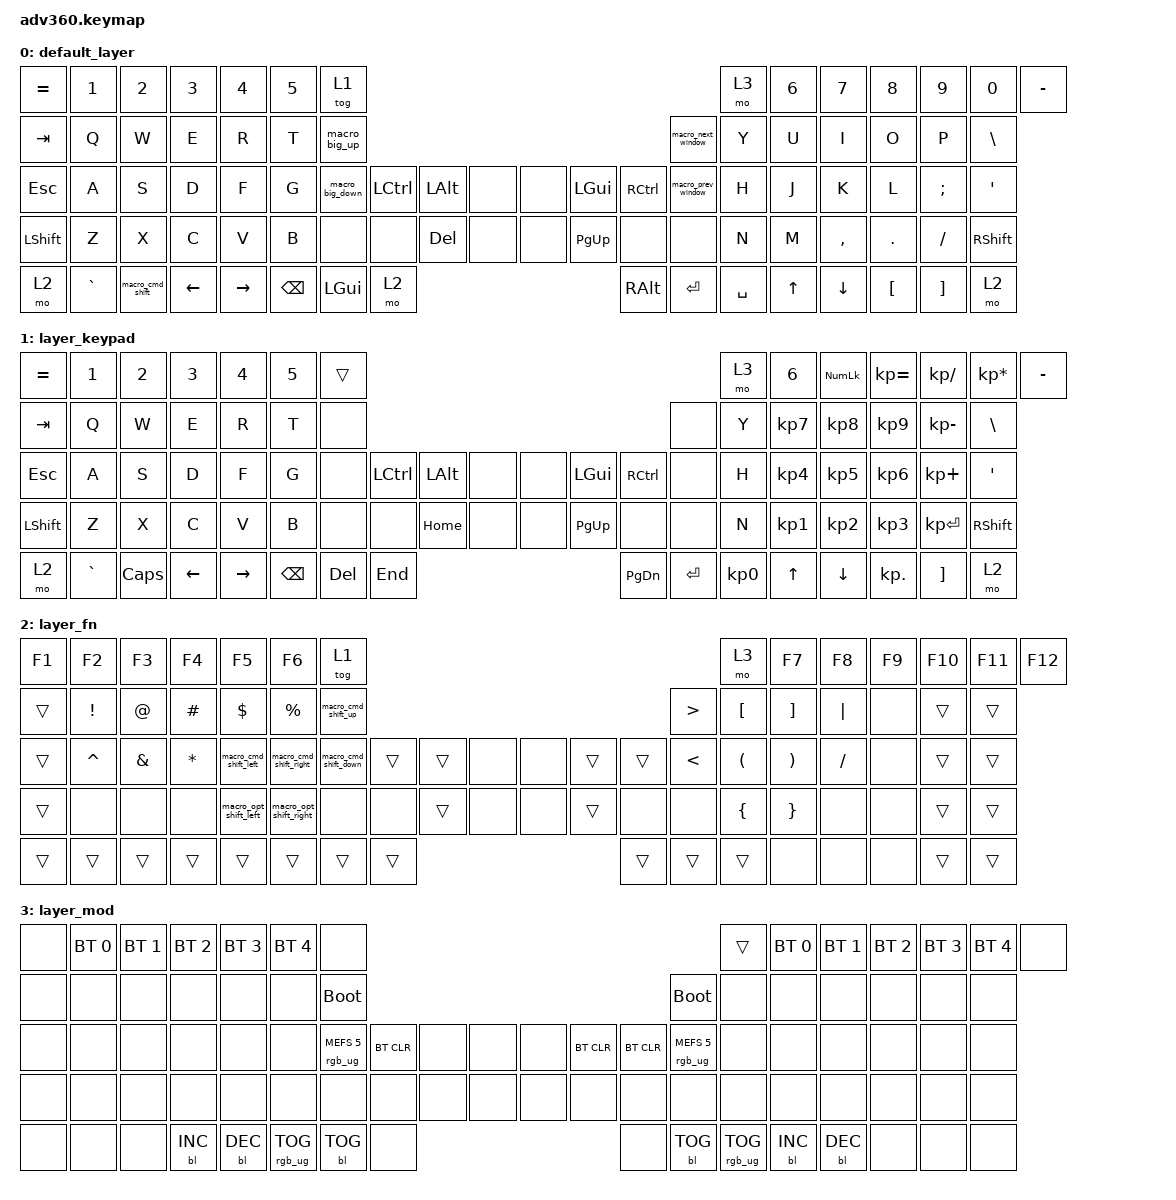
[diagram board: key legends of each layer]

/*
 * Copyright (c) 2020 The ZMK Contributors
 *
 * SPDX-License-Identifier: MIT
 */


/* THIS FILE WAS GENERATED!
 *
 * This file was generated automatically. You may or may not want to
 * edit it directly.
 */

#include <behaviors.dtsi>
#include <dt-bindings/zmk/keys.h>
#include <dt-bindings/zmk/bt.h>
#include <dt-bindings/zmk/rgb.h>
#include <dt-bindings/zmk/backlight.h>

/ {
  behaviors {
    #include "macros.dtsi"

    hm: homerow_mods {
        compatible = "zmk,behavior-hold-tap";
        label = "HOMEROW_MODS";
        #binding-cells = <2>;
        tapping-term-ms = <200>;
        quick_tap_ms = <175>;
        flavor = "tap-preferred";
        bindings = <&kp>, <&kp>;
    };
  };

    keymap {
        compatible = "zmk,keymap";


        default_layer {
            bindings = <
 &kp EQUAL     &kp N1            &kp N2    &kp N3     &kp N4  &kp N5                          &tog 1                                                                                &mo 3  &kp N6  &kp N7     &kp N8    &kp N9    &kp N0  &kp MINUS
   &kp TAB      &kp Q             &kp W     &kp E      &kp R   &kp T                  &macro_big_up                                                                   &macro_next_window   &kp Y   &kp U      &kp I     &kp O     &kp P   &kp BSLH
   &kp ESC      &kp A             &kp S     &kp D      &kp F   &kp G            &macro_big_down  &kp LCTRL    &kp LALT   &none   &none       &kp LGUI  &kp RCTRL  &macro_prev_window   &kp H   &kp J      &kp K     &kp L  &kp SEMI    &kp SQT
 &kp LSHFT      &kp Z             &kp X     &kp C      &kp V   &kp B                           &none      &none  &kp DELETE   &none   &none      &kp PG_UP      &none               &none   &kp N   &kp M  &kp COMMA   &kp DOT  &kp FSLH  &kp RSHFT
     &mo 2  &kp GRAVE  &macro_cmd_shift  &kp LEFT  &kp RIGHT                                &kp BSPC   &kp LGUI       &mo 2                  &kp RIGHT_ALT  &kp ENTER           &kp SPACE          &kp UP   &kp DOWN  &kp LBKT  &kp RBKT      &mo 2
            >;
        };

        layer_keypad {
            bindings = <
 &kp EQUAL     &kp N1    &kp N2    &kp N3     &kp N4  &kp N5              &trans                                                                 &mo 3  &kp N6  &kp KP_NUM  &kp KP_EQUAL  &kp KP_DIVIDE  &kp KP_MULTIPLY  &kp MINUS
   &kp TAB      &kp Q     &kp W     &kp E      &kp R   &kp T               &none                                                                 &none   &kp Y   &kp KP_N7     &kp KP_N8      &kp KP_N9     &kp KP_MINUS   &kp BSLH
   &kp ESC      &kp A     &kp S     &kp D      &kp F   &kp G               &none  &kp LCTRL  &kp LALT   &none   &none   &kp LGUI  &kp RCTRL      &none   &kp H   &kp KP_N4     &kp KP_N5      &kp KP_N6      &kp KP_PLUS    &kp SQT
 &kp LSHFT      &kp Z     &kp X     &kp C      &kp V   &kp B               &none      &none  &kp HOME   &none   &none  &kp PG_UP      &none      &none   &kp N   &kp KP_N1     &kp KP_N2      &kp KP_N3     &kp KP_ENTER  &kp RSHFT
     &mo 2  &kp GRAVE  &kp CAPS  &kp LEFT  &kp RIGHT                    &kp BSPC    &kp DEL   &kp END                  &kp PG_DN  &kp ENTER  &kp KP_N0              &kp UP      &kp DOWN     &kp KP_DOT         &kp RBKT      &mo 2
            >;
        };

        layer_fn {
            bindings = <
 &kp F1           &kp F2         &kp F3    &kp F4                 &kp F5                  &kp F6                           &tog 1                                                             &mo 3                &kp F7                 &kp F8     &kp F9  &kp F10  &kp F11  &kp F12
 &trans  &kp EXCLAMATION    &kp AT_SIGN  &kp HASH             &kp DOLLAR             &kp PERCENT              &macro_cmd_shift_up                                                  &kp GREATER_THAN      &kp LEFT_BRACKET      &kp RIGHT_BRACKET   &kp PIPE    &none   &trans   &trans
 &trans        &kp CARET  &kp AMPERSAND  &kp STAR  &macro_cmd_shift_left  &macro_cmd_shift_right            &macro_cmd_shift_down  &trans  &trans   &none   &none  &trans  &trans     &kp LESS_THAN  &kp LEFT_PARENTHESIS  &kp RIGHT_PARENTHESIS  &kp SLASH    &none   &trans   &trans
 &trans            &none          &none     &none  &macro_opt_shift_left  &macro_opt_shift_right                            &none   &none  &trans   &none   &none  &trans   &none             &none        &kp LEFT_BRACE        &kp RIGHT_BRACE      &none    &none   &trans   &trans
 &trans           &trans         &trans    &trans                 &trans                                                   &trans  &trans  &trans                  &trans  &trans            &trans                                        &none      &none    &none   &trans   &trans
            >;
        };

        layer_mod {
            bindings = <
  &none  &bt BT_SEL 0  &bt BT_SEL 1  &bt BT_SEL 2  &bt BT_SEL 3  &bt BT_SEL 4                             &none                                                                              &trans  &bt BT_SEL 0  &bt BT_SEL 1  &bt BT_SEL 2  &bt BT_SEL 3  &bt BT_SEL 4   &none
  &none         &none         &none         &none         &none         &none                       &bootloader                                                                         &bootloader         &none         &none         &none         &none         &none   &none
  &none         &none         &none         &none         &none         &none            &rgb_ug RGB_MEFS_CMD 5  &bt BT_CLR   &none   &none   &none  &bt BT_CLR  &bt BT_CLR  &rgb_ug RGB_MEFS_CMD 5         &none         &none         &none         &none         &none   &none
  &none         &none         &none         &none         &none         &none                             &none       &none   &none   &none   &none       &none       &none                   &none         &none         &none         &none         &none         &none   &none
  &none         &none         &none    &bl BL_INC    &bl BL_DEC                                 &rgb_ug RGB_TOG  &bl BL_TOG   &none                       &none  &bl BL_TOG         &rgb_ug RGB_TOG                  &bl BL_INC    &bl BL_DEC         &none         &none   &none
            >;
        };

    };
};
